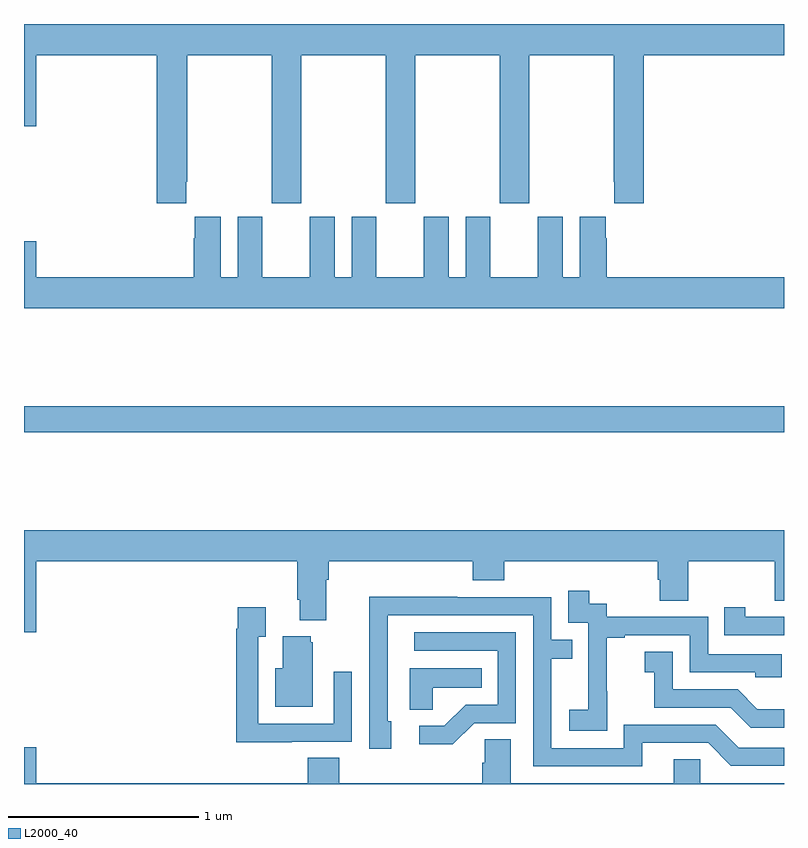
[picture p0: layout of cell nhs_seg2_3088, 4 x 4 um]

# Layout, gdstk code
import gdstk
lib = gdstk.Library(unit=1e-6, precision=1e-09)
def R(c, l, rs):  # rectangles x0, y0, x1, y1
    for r in rs: c.add(gdstk.rectangle(r[:2], r[2:], *l))
def P(c, l, *ps):  # polygons
    for p in ps: c.add(gdstk.Polygon(p, *l))
L2000_40 = (2000, 40)

nhs_seg2_3088 = lib.new_cell('nhs_seg2_3088')
R(nhs_seg2_3088, L2000_40, [(273,645.652,277,645.788)])
P(nhs_seg2_3088, L2000_40, [(273,647.262),(273.064,647.262),(273.064,647.636),(273.698,647.636),(273.698,646.857),(273.853,646.857),(273.853,646.969),(273.858,646.969),(273.858,647.636),(274.303,647.636),(274.303,646.857),(274.458,646.857),(274.458,647.636),(274.903,647.636),(274.903,646.857),(275.058,646.857),(275.058,647.636),(275.503,647.636),(275.503,646.857),(275.658,646.857),(275.658,647.636),(276.103,647.636),(276.103,646.969),(276.107,646.969),(276.107,646.857),(276.263,646.857),(276.263,647.636),(277,647.636),(277,647.8),(273,647.8)],
  [(277,646.468),(276.068,646.468),(276.068,646.673),(276.061,646.673),(276.061,646.786),(275.924,646.786),(275.924,646.468),(275.836,646.468),(275.836,646.786),(275.705,646.786),(275.705,646.468),(275.455,646.468),(275.455,646.786),(275.324,646.786),(275.324,646.468),(275.236,646.468),(275.236,646.786),(275.105,646.786),(275.105,646.468),(274.855,646.468),(274.855,646.786),(274.724,646.786),(274.724,646.468),(274.636,646.468),(274.636,646.786),(274.505,646.786),(274.505,646.468),(274.255,646.468),(274.255,646.786),(274.124,646.786),(274.124,646.468),(274.036,646.468),(274.036,646.786),(273.899,646.786),(273.899,646.673),(273.893,646.673),(273.893,646.468),(273.064,646.468),(273.064,646.657),(273,646.657),(273,646.304),(277,646.304)],
  [(273.064,644.972),(274.439,644.972),(274.439,644.77),(274.451,644.77),(274.451,644.663),(274.591,644.663),(274.591,644.876),(274.604,644.876),(274.604,644.972),(275.363,644.972),(275.363,644.873),(275.528,644.873),(275.528,644.972),(276.335,644.972),(276.335,644.874),(276.347,644.874),(276.347,644.764),(276.495,644.764),(276.495,644.972),(276.952,644.972),(276.952,644.764),(277,644.764),(277,645.136),(273,645.136),(273,644.598),(273.064,644.598)],
  [(276.069,644.287),(276.068,644.287),(276.068,644.571),(276.163,644.571),(276.163,644.583),(276.504,644.583),(276.504,644.388),(276.849,644.388),(276.849,644.361),(276.989,644.361),(276.989,644.484),(276.6,644.484),(276.6,644.679),(276.066,644.679),(276.066,644.748),(275.974,644.748),(275.974,644.818),(275.865,644.818),(275.865,644.649),(275.97,644.649),(275.97,644.42),(275.969,644.42),(275.969,644.191),(275.871,644.191),(275.871,644.081),(276.069,644.081)],
  [(276.253,644.016),(276.6,644.016),(276.72,643.896),(277,643.896),(277,643.992),(276.762,643.992),(276.642,644.112),(276.156,644.112),(276.156,643.989),(275.775,643.989),(275.775,644.458),(275.885,644.458),(275.885,644.559),(275.775,644.559),(275.775,644.784),(275.279,644.784),(275.279,644.786),(274.816,644.786),(274.816,644.479),(274.818,644.479),(274.818,643.986),(274.933,643.986),(274.933,644.13),(274.914,644.13),(274.914,644.688),(275.679,644.688),(275.679,643.893),(276.253,643.893)],
  [(277,644.679),(276.796,644.679),(276.796,644.731),(276.685,644.731),(276.685,644.583),(277,644.583)],
  [(274.409,644.022),(274.725,644.022),(274.725,644.392),(274.629,644.392),(274.629,644.118),(274.233,644.118),(274.233,644.575),(274.273,644.575),(274.273,644.731),(274.125,644.731),(274.125,644.618),(274.117,644.618),(274.117,644.021),(274.409,644.021)],
  [(275.37,644.121),(275.589,644.121),(275.589,644.598),(275.055,644.598),(275.055,644.502),(275.493,644.502),(275.493,644.217),(275.324,644.217),(275.213,644.106),(275.079,644.106),(275.079,644.009),(275.257,644.009)],
  [(274.519,644.547),(274.508,644.547),(274.508,644.578),(274.361,644.578),(274.361,644.41),(274.322,644.41),(274.322,644.207),(274.519,644.207)],
  [(277,644.194),(276.86,644.194),(276.756,644.298),(276.414,644.298),(276.414,644.497),(276.267,644.497),(276.267,644.387),(276.316,644.387),(276.316,644.202),(276.719,644.202),(276.824,644.097),(277,644.097)],
  [(275.151,644.306),(275.408,644.306),(275.408,644.41),(275.03,644.41),(275.03,644.191),(275.151,644.191)],
  [(277,643.804),(276.558,643.804),(276.558,643.931),(276.419,643.931),(276.419,643.804),(275.563,643.804),(275.563,644.036),(275.424,644.036),(275.424,643.913),(275.411,643.913),(275.411,643.804),(274.658,643.804),(274.658,643.937),(274.493,643.937),(274.493,643.804),(273.064,643.804),(273.064,643.993),(273,643.993),(273,643.8),(277,643.8)])

lib.write_gds('nhs_seg2_3088.gds')
